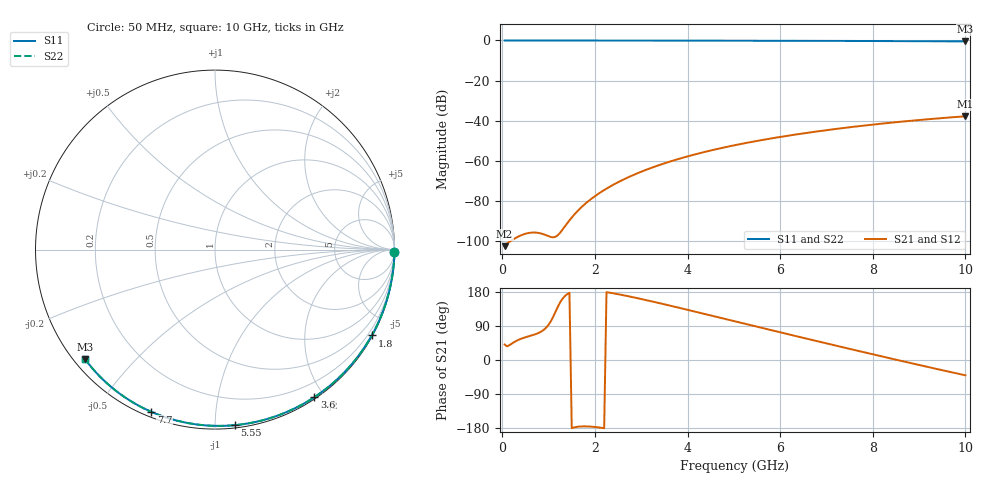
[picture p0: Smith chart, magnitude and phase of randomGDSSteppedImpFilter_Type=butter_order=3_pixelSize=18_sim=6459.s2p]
! freq	dB(S11)	phase(S11)	dB(S12)	phase(S12)
!  dB(S21)	phase(S21)	dB(S22)	phase(S22)
!S-par simulation data
#  GHz  S  DB  R 50
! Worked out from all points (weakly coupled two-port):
!   200 points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, 50 MHz to 10 GHz, reference 50 ohm
!   highest |S21| = -37.78 dB at 10 GHz (marker M1); lowest = -102.5 dB at 50 MHz (marker M2)
!   lowest |S11| = -0.5 dB at 10 GHz (marker M3), VSWR 36.86, Z = 1.54 - j18.3 ohm
!   |S11| at or under -10 dB: nowhere
!   |S22| runs from -0.5 to 0.0 dB; largest |S21 - S12| = 0
!   S11 on the Smith chart (normalised r, x): 50 MHz: open; 1.8 GHz: 0.03, -3.91; 3.6 GHz: 0.02, -1.88; 5.55 GHz: 0.02, -1.12; 7.7 GHz: 0.02, -0.68; 10 GHz: 0.03, -0.37
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0.05  -0.00 -0.8  -102.46 40.9  -102.46 40.9  -0.00 -0.8
0.45  -0.01 -7.3  -96.64 58.0  -96.64 58.0  -0.01 -7.3
0.9  -0.02 -14.5  -96.60 80.1  -96.60 80.1  -0.02 -14.5
1.75  -0.04 -27.9  -82.17 -175.1  -82.17 -175.1  -0.04 -27.9
1.8  -0.04 -28.7  -81.15 -175.1  -81.15 -175.1  -0.04 -28.7
1.85  -0.04 -29.5  -80.20 -175.3  -80.20 -175.3  -0.04 -29.5
2.2  -0.04 -34.9  -74.50 -180.0  -74.50 -180.0  -0.04 -34.9
2.35  -0.05 -37.2  -72.45 177.0  -72.45 177.0  -0.05 -37.2
2.55  -0.05 -40.3  -70.02 172.5  -70.02 172.5  -0.05 -40.3
2.95  -0.06 -46.3  -65.85 162.3  -65.85 162.3  -0.06 -46.3
3.4  -0.07 -53.1  -61.98 149.8  -61.98 149.8  -0.07 -53.1
3.6  -0.08 -56.0  -60.46 144.1  -60.46 144.1  -0.08 -56.0
3.9  -0.08 -60.4  -58.39 135.4  -58.39 135.4  -0.08 -60.4
4.3  -0.09 -66.2  -55.93 123.6  -55.93 123.6  -0.09 -66.2
5.05  -0.12 -76.7  -52.03 101.2  -52.03 101.2  -0.12 -76.7
5.55  -0.14 -83.5  -49.83 86.4  -49.83 86.4  -0.14 -83.5
6.1  -0.16 -90.9  -47.69 70.1  -47.69 70.1  -0.16 -90.9
6.7  -0.19 -98.7  -45.63 52.5  -45.63 52.5  -0.19 -98.7
7.7  -0.25 -111.5  -42.69 23.6  -42.69 23.6  -0.25 -111.5
8.35  -0.31 -119.5  -41.06 5.1  -41.06 5.1  -0.31 -119.5
9.2  -0.38 -130.0  -39.22 -18.7  -39.22 -18.7  -0.38 -130.0
10  -0.47 -139.7  -37.78 -40.4  -37.78 -40.4  -0.47 -139.7
